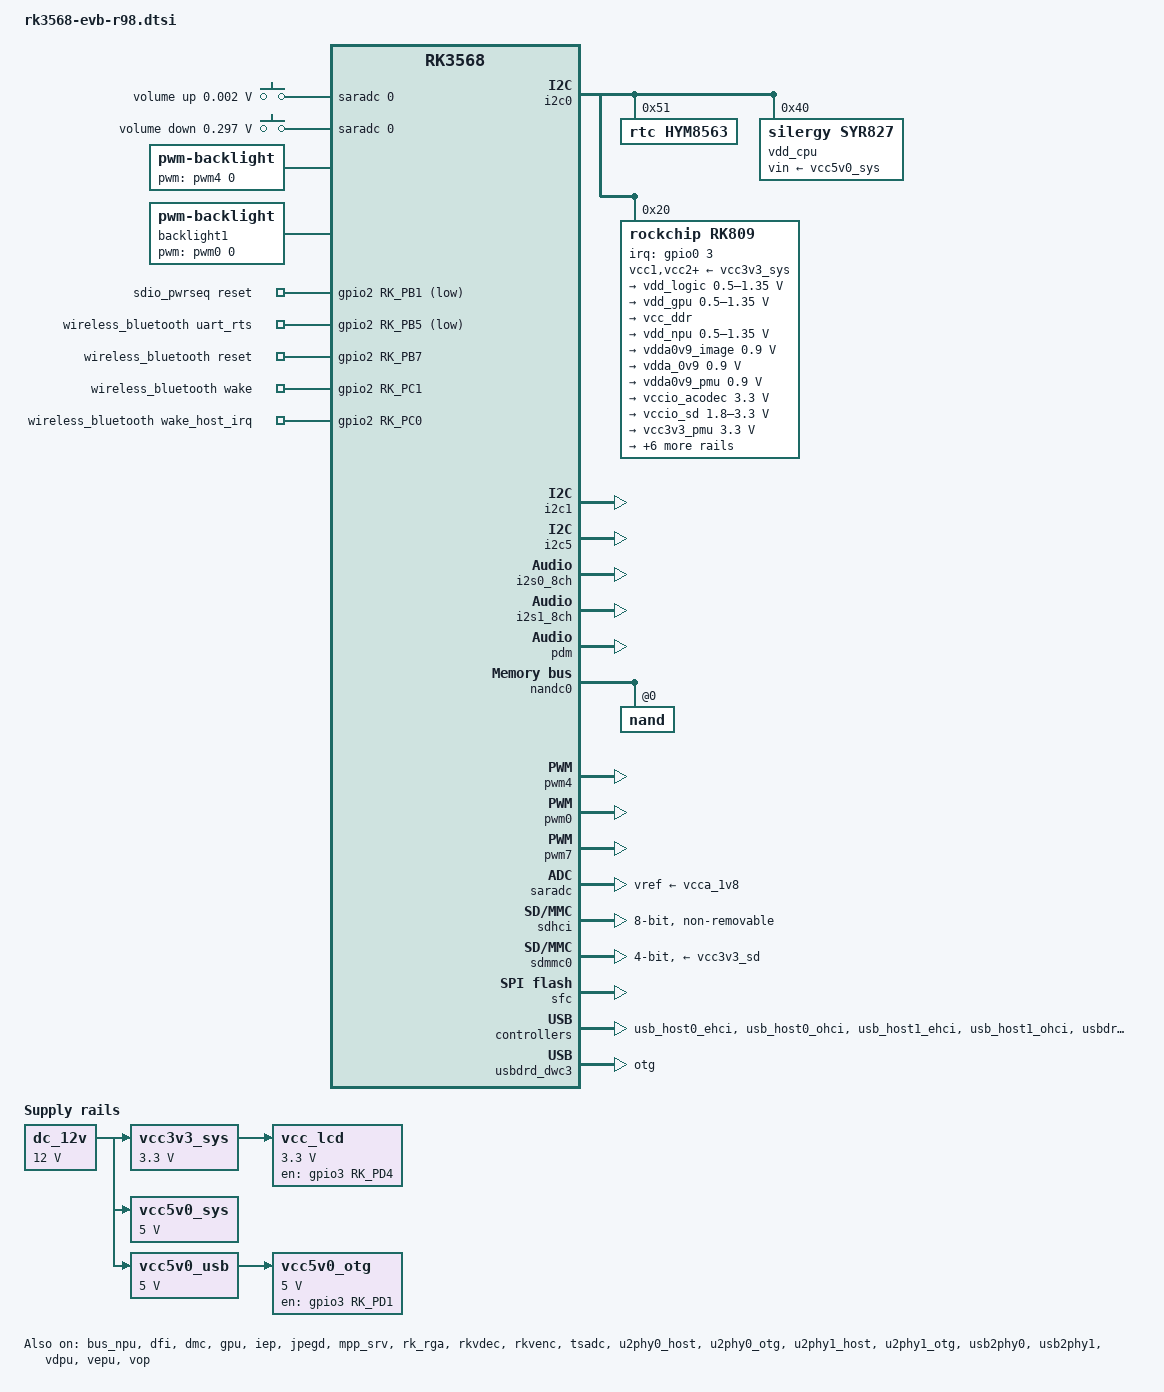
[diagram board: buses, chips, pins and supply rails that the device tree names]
// SPDX-License-Identifier: (GPL-2.0+ OR MIT)
/*
 * Copyright (c) 2020 Rockchip Electronics Co., Ltd.
 *
 */

#include <dt-bindings/gpio/gpio.h>
#include <dt-bindings/pwm/pwm.h>
#include <dt-bindings/pinctrl/rockchip.h>
#include <dt-bindings/input/rk-input.h>
#include <dt-bindings/display/drm_mipi_dsi.h>
#include <dt-bindings/sensor-dev.h>

/ {

	adc_keys: adc-keys {
		compatible = "adc-keys";
		io-channels = <&saradc 0>;
		io-channel-names = "buttons";
		keyup-threshold-microvolt = <1800000>;
		poll-interval = <100>;

		vol-up-key {
			label = "volume up";
			linux,code = <KEY_VOLUMEUP>;
			press-threshold-microvolt = <1750>;
		};

		vol-down-key {
			label = "volume down";
			linux,code = <KEY_VOLUMEDOWN>;
			press-threshold-microvolt = <297500>;
		};

		/*menu-key {
			label = "menu";
			linux,code = <KEY_MENU>;
			press-threshold-microvolt = <980000>;
		};

		back-key {
			label = "back";
			linux,code = <KEY_BACK>;
			press-threshold-microvolt = <1305500>;
		};*/
	};

	audiopwmout_diff: audiopwmout-diff {
		status = "disabled";
		compatible = "simple-audio-card";
		simple-audio-card,format = "i2s";
		simple-audio-card,name = "rockchip,audiopwmout-diff";
		simple-audio-card,mclk-fs = <256>;
		simple-audio-card,bitclock-master = <&master>;
		simple-audio-card,frame-master = <&master>;
		simple-audio-card,cpu {
			sound-dai = <&i2s3_2ch>;
		};
		master: simple-audio-card,codec {
			sound-dai = <&dig_acodec>;
		};
	};

	backlight: backlight {
		compatible = "pwm-backlight";
		pwms = <&pwm4 0 100000 1>;
		brightness-levels = <
			  0   1   2   3   4   5   6   7
			  8   9  10  11  12  13  14  15
			 16  17  18  19  20  21  22  23
			 24  25  26  27  28  29  30  31
			 32  33  34  35  36  37  38  39
			 40  41  42  43  44  45  46  47
			 48  49  50  51  52  53  54  55
			 56  57  58  59  60  61  62  63
			 64  65  66  67  68  69  70  71
			 72  73  74  75  76  77  78  79
			 80  81  82  83  84  85  86  87
			 88  89  90  91  92  93  94  95
			 96  97  98  99 100 101 102 103
			104 105 106 107 108 109 110 111
			112 113 114 115 116 117 118 119
			120 121 122 123 124 125 126 127
			128 129 130 131 132 133 134 135
			136 137 138 139 140 141 142 143
			144 145 146 147 148 149 150 151
			152 153 154 155 156 157 158 159
			160 161 162 163 164 165 166 167
			168 169 170 171 172 173 174 175
			176 177 178 179 180 181 182 183
			184 185 186 187 188 189 190 191
			192 193 194 195 196 197 198 199
			200 201 202 203 204 205 206 207
			208 209 210 211 212 213 214 215
			216 217 218 219 220 221 222 223
			224 225 226 227 228 229 230 231
			232 233 234 235 236 237 238 239
			240 241 242 243 244 245 246 247
			248 249 250 251 252 253 254 255>;
		default-brightness-level = <200>;
	};

	backlight1: backlight1 {
		compatible = "pwm-backlight";
		pwms = <&pwm0 0 25000 0>;
		brightness-levels = <
			  0   1   2   3   4   5   6   7
			  8   9  10  11  12  13  14  15
			 16  17  18  19  20  21  22  23
			 24  25  26  27  28  29  30  31
			 32  33  34  35  36  37  38  39
			 40  41  42  43  44  45  46  47
			 48  49  50  51  52  53  54  55
			 56  57  58  59  60  61  62  63
			 64  65  66  67  68  69  70  71
			 72  73  74  75  76  77  78  79
			 80  81  82  83  84  85  86  87
			 88  89  90  91  92  93  94  95
			 96  97  98  99 100 101 102 103
			104 105 106 107 108 109 110 111
			112 113 114 115 116 117 118 119
			120 121 122 123 124 125 126 127
			128 129 130 131 132 133 134 135
			136 137 138 139 140 141 142 143
			144 145 146 147 148 149 150 151
			152 153 154 155 156 157 158 159
			160 161 162 163 164 165 166 167
			168 169 170 171 172 173 174 175
			176 177 178 179 180 181 182 183
			184 185 186 187 188 189 190 191
			192 193 194 195 196 197 198 199
			200 201 202 203 204 205 206 207
			208 209 210 211 212 213 214 215
			216 217 218 219 220 221 222 223
			224 225 226 227 228 229 230 231
			232 233 234 235 236 237 238 239
			240 241 242 243 244 245 246 247
			248 249 250 251 252 253 254 255>;
		default-brightness-level = <200>;
	};

	dc_12v: dc-12v {
		compatible = "regulator-fixed";
		regulator-name = "dc_12v";
		regulator-always-on;
		regulator-boot-on;
		regulator-min-microvolt = <12000000>;
		regulator-max-microvolt = <12000000>;
	};

	hdmi_sound: hdmi-sound {
		compatible = "simple-audio-card";
		simple-audio-card,format = "i2s";
		simple-audio-card,mclk-fs = <128>;
		simple-audio-card,name = "rockchip,hdmi";
		status = "disabled";

		simple-audio-card,cpu {
				sound-dai = <&i2s0_8ch>;
		};
		simple-audio-card,codec {
				sound-dai = <&hdmi>;
		};
	};

	/*leds: leds {
		compatible = "gpio-leds";
		work_led: work {
			gpios = <&gpio0 RK_PC0 GPIO_ACTIVE_HIGH>;
			linux,default-trigger = "heartbeat";
		};
	};*/
	rk809_sound: rk809-sound {
		status = "okay";
		compatible = "simple-audio-card";
		simple-audio-card,format = "i2s";
		simple-audio-card,name = "rockchip,rk809-codec";
		simple-audio-card,mclk-fs = <256>;

		simple-audio-card,cpu {
			sound-dai = <&i2s1_8ch>;
		};
		simple-audio-card,codec {
			sound-dai = <&rk809_codec>;
		};
	};

	pdmics: dummy-codec {
		status = "okay";
		compatible = "rockchip,dummy-codec";
		#sound-dai-cells = <0>;
	};

	pdm_mic_array: pdm-mic-array {
		status = "okay";
		compatible = "simple-audio-card";
		simple-audio-card,name = "rockchip,pdm-mic-array";
		simple-audio-card,cpu {
			sound-dai = <&pdm>;
		};
		simple-audio-card,codec {
			sound-dai = <&pdmics>;
		};
	};

	spdif-sound {
		status = "disabled";
		compatible = "simple-audio-card";
		simple-audio-card,name = "ROCKCHIP,SPDIF";
		simple-audio-card,cpu {
				sound-dai = <&spdif_8ch>;
		};
		simple-audio-card,codec {
				sound-dai = <&spdif_out>;
		};
	};

	spdif_out: spdif-out {
			status = "disabled";
			compatible = "linux,spdif-dit";
			#sound-dai-cells = <0>;
	};

	vad_sound: vad-sound {
		status = "disabled";
		compatible = "rockchip,multicodecs-card";
		rockchip,card-name = "rockchip,rk3568-vad";
		rockchip,cpu = <&i2s1_8ch>;
		rockchip,codec = <&rk809_codec>, <&vad>;
	};

	vcc3v3_sys: vcc3v3-sys {
		compatible = "regulator-fixed";
		regulator-name = "vcc3v3_sys";
		regulator-always-on;
		regulator-boot-on;
		regulator-min-microvolt = <3300000>;
		regulator-max-microvolt = <3300000>;
		vin-supply = <&dc_12v>;
	};

	vcc5v0_sys: vcc5v0-sys {
		compatible = "regulator-fixed";
		regulator-name = "vcc5v0_sys";
		regulator-always-on;
		regulator-boot-on;
		regulator-min-microvolt = <5000000>;
		regulator-max-microvolt = <5000000>;
		vin-supply = <&dc_12v>;
	};

	vcc5v0_usb: vcc5v0-usb {
		compatible = "regulator-fixed";
		regulator-name = "vcc5v0_usb";
		regulator-always-on;
		regulator-boot-on;
		regulator-min-microvolt = <5000000>;
		regulator-max-microvolt = <5000000>;
		vin-supply = <&dc_12v>;
	};

	/*vcc5v0_host: vcc5v0-host-regulator {
		compatible = "regulator-fixed";
		regulator-name = "vcc5v0_host";
		regulator-boot-on;
		regulator-always-on;
		regulator-min-microvolt = <5000000>;
		regulator-max-microvolt = <5000000>;
		enable-active-high;
		gpio = <&gpio0 RK_PA6 GPIO_ACTIVE_HIGH>;
		vin-supply = <&vcc5v0_usb>;
		pinctrl-names = "default";
		pinctrl-0 = <&vcc5v0_host_en>;
	};*/

	vcc5v0_otg: vcc5v0-otg-regulator {
		compatible = "regulator-fixed";
		regulator-name = "vcc5v0_otg";
		regulator-min-microvolt = <5000000>;
		regulator-max-microvolt = <5000000>;
		enable-active-high;
		gpio = <&gpio3 RK_PD1 GPIO_ACTIVE_HIGH>;
		vin-supply = <&vcc5v0_usb>;
		pinctrl-names = "default";
		pinctrl-0 = <&vcc5v0_otg_en>;
	};

	vcc_lcd: vcc-lcd {
		compatible = "regulator-fixed";
		regulator-name = "vcc_lcd";
		regulator-boot-on;
		regulator-min-microvolt = <3300000>;
		regulator-max-microvolt = <3300000>;
		enable-active-high;
		//regulator-always-on;
		gpio = <&gpio3 RK_PD4 GPIO_ACTIVE_HIGH>;
		pinctrl-names = "default";
		pinctrl-0 = <&lcd_edp_gpio>;
		vin-supply = <&vcc3v3_sys>;

		regulator-state-mem {
			regulator-off-in-suspend;
		};
	};
	
	/*vcc1v8_lcd0_n: vcc1v8-lcd0-n {
		status = "disabled";
		compatible = "regulator-fixed";
		regulator-name = "vcc1v8_lcd0_n";
		regulator-boot-on;
		regulator-min-microvolt = <3300000>;
		regulator-max-microvolt = <3300000>;
		enable-active-high;
		gpio = <&gpio3 RK_PC6 GPIO_ACTIVE_HIGH>;
		vin-supply = <&vcc3v3_sys>;

		regulator-state-mem {
			regulator-off-in-suspend;
		};
	};

	vcc3v3_lcd1_n: vcc3v3-lcd1-n {
		status = "disabled";
		compatible = "regulator-fixed";
		regulator-name = "vcc3v3_lcd1_n";
		regulator-boot-on;
		regulator-min-microvolt = <3300000>;
		regulator-max-microvolt = <3300000>;
		enable-active-high;
		gpio = <&gpio0 RK_PC5 GPIO_ACTIVE_HIGH>;
		vin-supply = <&vcc3v3_sys>;

		regulator-state-mem {
			regulator-off-in-suspend;
		};
	};*/

	sdio_pwrseq: sdio-pwrseq {
		compatible = "mmc-pwrseq-simple";
		//clocks = <&pmucru CLK_RTC_32K>;
		//pinctrl-0 = <&wifi_enable_h &wifi_32k>;
		clocks = <&rk809 1>;
		clock-names = "ext_clock";
		pinctrl-names = "default";
		pinctrl-0 = <&wifi_enable_h>;

		/*
		 * On the module itself this is one of these (depending
		 * on the actual card populated):
		 * - SDIO_RESET_L_WL_REG_ON
		 * - PDN (power down when low)
		 */
		post-power-on-delay-ms = <200>;
		reset-gpios = <&gpio2 RK_PB1 GPIO_ACTIVE_LOW>;
	};

	wireless_wlan: wireless-wlan {
		compatible = "wlan-platdata";
		rockchip,grf = <&grf>;
		wifi_chip_type = "ap6398s";
		status = "okay";
	};

	wireless_bluetooth {
		compatible = "bluetooth-platdata";
		//clocks = <&pmucru CLK_RTC_32K>;
		clocks = <&rk809 1>;//rocky
		clock-names = "ext_clock";
		//wifi-bt-power-toggle;
		uart_rts_gpios = <&gpio2 RK_PB5 GPIO_ACTIVE_LOW>;
		pinctrl-names = "default", "rts_gpio";
		pinctrl-0 = <&uart1m0_rtsn>;
		pinctrl-1 = <&uart1_gpios>;
		BT,reset_gpio    = <&gpio2 RK_PB7 GPIO_ACTIVE_HIGH>;
		BT,wake_gpio     = <&gpio2 RK_PC1 GPIO_ACTIVE_HIGH>;
		BT,wake_host_irq = <&gpio2 RK_PC0 GPIO_ACTIVE_HIGH>;
		status = "okay";
	};
	
	test-power {
		status = "okay";
	};
};

&bus_npu {
	bus-supply = <&vdd_logic>;
	pvtm-supply = <&vdd_cpu>;
	status = "okay";
};

&can0 {
	assigned-clocks = <&cru CLK_CAN0>;
	assigned-clock-rates = <150000000>;
	pinctrl-names = "default";
	pinctrl-0 = <&can0m1_pins>;
	status = "disabled";
};

&can1 {
	assigned-clocks = <&cru CLK_CAN1>;
	assigned-clock-rates = <150000000>;
	pinctrl-names = "default";
	pinctrl-0 = <&can1m1_pins>;
	status = "disabled";
};

&can2 {
	assigned-clocks = <&cru CLK_CAN2>;
	assigned-clock-rates = <150000000>;
	pinctrl-names = "default";
	pinctrl-0 = <&can2m1_pins>;
	status = "disabled";
};

&cpu0 {
	cpu-supply = <&vdd_cpu>;
};

&dfi {
	status = "okay";
};

&dmc {
	center-supply = <&vdd_logic>;
	status = "okay";
};

&dsi0 {
	status = "disabled";
	//rockchip,lane-rate = <1000>;
	//rockchip,lane-rate = <400>;
	dsi0_panel: panel@0 {
		status = "okay";
		compatible = "simple-panel-dsi";
		reg = <0>;
		//backlight = <&backlight1>;//rocky
		
		prepare-delay-ms = <120>;
		reset-delay-ms = <120>;
		init-delay-ms = <120>;
		stbyb-delay-ms = <120>;
		enable-delay-ms = <120>;
		disable-delay-ms = <120>;
		unprepare-delay-ms = <120>;
		
		dsi,flags = <(MIPI_DSI_MODE_VIDEO | MIPI_DSI_MODE_VIDEO_BURST |
			MIPI_DSI_MODE_LPM | MIPI_DSI_MODE_EOT_PACKET)>;
		dsi,format = <MIPI_DSI_FMT_RGB888>;
		dsi,lanes  = <4>;
		panel-init-sequence = [
			/*15 00 02 80 8B
			15 00 02 81 C8
			15 00 02 82 DC
			15 00 02 83 FF
			15 00 02 84 CA
			15 00 02 85 7C
			15 00 02 86 B9*/
			
			15 00 02 80 AC
			15 00 02 81 B8
			15 00 02 82 09
			15 00 02 83 78
			15 00 02 84 7F
			15 00 02 85 BB
			15 00 02 86 70

			05 78 01 11		
			05 14 01 29
		];  

		panel-exit-sequence = [
			05 00 01 28
			05 00 01 10
		];

		disp_timings0: display-timings {
			native-mode = <&dsi0_timing0>;
			dsi0_timing0: timing0 {
				clock-frequency = <52000000>;
				hactive = <1024>;
				vactive = <600>;
				hback-porch = <160>;
				hfront-porch = <160>;
				vback-porch = <23>;
				vfront-porch = <12>;
				hsync-len = <10>;
				vsync-len = <1>;
				hsync-active = <0>;
				vsync-active = <0>;
				de-active = <0>;
				pixelclk-active = <0>;
			};
		};

		ports {
			#address-cells = <1>;
			#size-cells = <0>;

			port@0 {
				reg = <0>;
				panel_in_dsi: endpoint {
					remote-endpoint = <&dsi_out_panel>;
				};
			};
		};
	};

	ports {
		#address-cells = <1>;
		#size-cells = <0>;

		port@1 {
			reg = <1>;
			dsi_out_panel: endpoint {
				remote-endpoint = <&panel_in_dsi>;
			};
		};
	};

};

&dsi1 {
	status = "disabled";
	//rockchip,lane-rate = <1000>;
	dsi1_panel: panel@0 {
		status = "okay";
		compatible = "simple-panel-dsi";
		reg = <0>;
		//backlight = <&backlight1>;
		
		prepare-delay-ms = <120>;
		reset-delay-ms = <120>;
		init-delay-ms = <120>;
		stbyb-delay-ms = <120>;
		enable-delay-ms = <120>;
		disable-delay-ms = <120>;
		unprepare-delay-ms = <120>;
		
		dsi,flags = <(MIPI_DSI_MODE_VIDEO | MIPI_DSI_MODE_VIDEO_BURST |
			MIPI_DSI_MODE_LPM | MIPI_DSI_MODE_EOT_PACKET)>;
		dsi,format = <MIPI_DSI_FMT_RGB888>;
		dsi,lanes  = <4>;
		panel-init-sequence = [
		
		#if 1 //10.1-JJ101I008-A6  JJ101I008-A5
			15 01 02 E0 00
			15 01 02 E1 93
			15 01 02 E2 65
			15 01 02 E3 F8
			15 01 02 80 03
			15 01 02 E0 01
			15 01 02 00 00
			15 01 02 01 5C
			15 01 02 17 00
			15 01 02 18 D7
			15 01 02 19 01
			15 01 02 1A 00
			15 01 02 1B D7
			15 01 02 1C 01
			15 01 02 1F 70
			15 01 02 20 2D
			15 01 02 21 2D
			15 01 02 22 7E
			15 01 02 24 FD
			15 01 02 37 19
			15 01 02 35 28
			15 01 02 38 05
			15 01 02 39 08
			15 01 02 3A 12
			15 01 02 3C 7E
			15 01 02 3D FF
			15 01 02 3E FF
			15 01 02 3F 7F
			15 01 02 0C 74
			15 01 02 40 06
			15 01 02 41 A0
			15 01 02 43 1E
			15 01 02 44 0B
			15 01 02 55 01
			15 01 02 56 01
			15 01 02 57 6A
			15 01 02 58 09
			15 01 02 59 0A
			15 01 02 5A 2E
			15 01 02 5B 1A
			15 01 02 5C 15
			15 01 02 5D 7F
			15 01 02 5E 5D
			15 01 02 5F 4B
			15 01 02 60 3E
			15 01 02 61 3A
			15 01 02 62 2B
			15 01 02 63 2F
			15 01 02 64 19
			15 01 02 65 32
			15 01 02 66 31
			15 01 02 67 31
			15 01 02 68 4F
			15 01 02 69 3E
			15 01 02 6A 47
			15 01 02 6B 36
			15 01 02 6C 31
			15 01 02 6D 24
			15 01 02 6E 12
			15 01 02 6F 02
			15 01 02 70 7F
			15 01 02 71 5D
			15 01 02 72 4B
			15 01 02 73 3E
			15 01 02 74 3A
			15 01 02 75 2B
			15 01 02 76 2F
			15 01 02 77 19
			15 01 02 78 32
			15 01 02 79 31
			15 01 02 7A 31
			15 01 02 7B 4F
			15 01 02 7C 3E
			15 01 02 7D 47
			15 01 02 7E 36
			15 01 02 7F 31
			15 01 02 80 24
			15 01 02 81 12
			15 01 02 82 02
			15 01 02 E0 02
			15 01 02 00 52
			15 01 02 01 55
			15 01 02 02 55
			15 01 02 03 50
			15 01 02 04 77
			15 01 02 05 57
			15 01 02 06 55
			15 01 02 07 4E
			15 01 02 08 4C
			15 01 02 09 5F
			15 01 02 0A 4A
			15 01 02 0B 48
			15 01 02 0C 55
			15 01 02 0D 46
			15 01 02 0E 44
			15 01 02 0F 40
			15 01 02 10 55
			15 01 02 11 55
			15 01 02 12 55
			15 01 02 13 55
			15 01 02 14 55
			15 01 02 15 55
			15 01 02 16 53
			15 01 02 17 55
			15 01 02 18 55
			15 01 02 19 51
			15 01 02 1A 77
			15 01 02 1B 57
			15 01 02 1C 55
			15 01 02 1D 4F
			15 01 02 1E 4D
			15 01 02 1F 5F
			15 01 02 20 4B
			15 01 02 21 49
			15 01 02 22 55
			15 01 02 23 47
			15 01 02 24 45
			15 01 02 25 41
			15 01 02 26 55
			15 01 02 27 55
			15 01 02 28 55
			15 01 02 29 55
			15 01 02 2A 55
			15 01 02 2B 55
			15 01 02 2C 13
			15 01 02 2D 15
			15 01 02 2E 15
			15 01 02 2F 01
			15 01 02 30 37
			15 01 02 31 17
			15 01 02 32 15
			15 01 02 33 0D
			15 01 02 34 0F
			15 01 02 35 15
			15 01 02 36 05
			15 01 02 37 07
			15 01 02 38 15
			15 01 02 39 09
			15 01 02 3A 0B
			15 01 02 3B 11
			15 01 02 3C 15
			15 01 02 3D 15
			15 01 02 3E 15
			15 01 02 3F 15
			15 01 02 40 15
			15 01 02 41 15
			15 01 02 42 12
			15 01 02 43 15
			15 01 02 44 15
			15 01 02 45 00
			15 01 02 46 37
			15 01 02 47 17
			15 01 02 48 15
			15 01 02 49 0C
			15 01 02 4A 0E
			15 01 02 4B 15
			15 01 02 4C 04
			15 01 02 4D 06
			15 01 02 4E 15
			15 01 02 4F 08
			15 01 02 50 0A
			15 01 02 51 10
			15 01 02 52 15
			15 01 02 53 15
			15 01 02 54 15
			15 01 02 55 15
			15 01 02 56 15
			15 01 02 57 15
			15 01 02 58 40
			15 01 02 5B 10
			15 01 02 5C 06
			15 01 02 5D 40
			15 01 02 5E 00
			15 01 02 5F 00
			15 01 02 60 40
			15 01 02 61 03
			15 01 02 62 04
			15 01 02 63 6C
			15 01 02 64 6C
			15 01 02 65 75
			15 01 02 66 08
			15 01 02 67 B4
			15 01 02 68 08
			15 01 02 69 6C
			15 01 02 6A 6C
			15 01 02 6B 0C
			15 01 02 6D 00
			15 01 02 6E 00
			15 01 02 6F 88
			15 01 02 75 BB
			15 01 02 76 00
			15 01 02 77 05
			15 01 02 78 2A
			15 01 02 E0 04
			15 01 02 36 49
			15 01 02 09 11
			15 01 02 0E 48
			15 01 02 E0 00
			05 78 01 11
			05 1E 01 29
			15 01 02 35 00
			15 01 02 E0 00
			
		#else //8inch-JL080-CC8001-21J   JL080-CC8001-21H
			15 01 02 E0 00
			15 01 02 E1 93
			15 01 02 E2 65
			15 01 02 E3 F8
			15 01 02 80 03
			15 01 02 E0 01
			15 01 02 00 00
			15 01 02 01 30
			15 01 02 03 00
			15 01 02 04 3C
			15 01 02 0C 74
			15 01 02 17 00
			15 01 02 18 F7
			15 01 02 19 00
			15 01 02 1A 00
			15 01 02 1B F7
			15 01 02 1C 00
			15 01 02 24 FE
			15 01 02 35 23
			15 01 02 37 09
			15 01 02 38 04
			15 01 02 39 00
			15 01 02 3A 01
			15 01 02 3C 70
			15 01 02 3D FF
			15 01 02 3E FF
			15 01 02 3F 7F
			15 01 02 40 06
			15 01 02 41 A0
			15 01 02 43 1E
			15 01 02 44 0B
			15 01 02 45 28
			15 01 02 55 02
			15 01 02 57 69
			15 01 02 59 0A
			15 01 02 5A 2D
			15 01 02 5B 1A
			15 01 02 5C 15
			15 01 02 5D 7F
			15 01 02 5E 6B
			15 01 02 5F 5C
			15 01 02 60 4F
			15 01 02 61 4B
			15 01 02 62 3D
			15 01 02 63 41
			15 01 02 64 2C
			15 01 02 65 46
			15 01 02 66 46
			15 01 02 67 46
			15 01 02 68 64
			15 01 02 69 50
			15 01 02 6A 55
			15 01 02 6B 47
			15 01 02 6C 43
			15 01 02 6D 36
			15 01 02 6E 27
			15 01 02 6F 26
			15 01 02 70 7F
			15 01 02 71 6B
			15 01 02 72 5C
			15 01 02 73 4F
			15 01 02 74 4B
			15 01 02 75 3D
			15 01 02 76 41
			15 01 02 77 2C
			15 01 02 78 46
			15 01 02 79 46
			15 01 02 7A 46
			15 01 02 7B 64
			15 01 02 7C 50
			15 01 02 7D 55
			15 01 02 7E 47
			15 01 02 7F 43
			15 01 02 80 36
			15 01 02 81 27
			15 01 02 82 11
			15 01 02 E0 02
			15 01 02 00 50
			15 01 02 01 5F
			15 01 02 02 5F
			15 01 02 03 52
			15 01 02 04 77
			15 01 02 05 57
			15 01 02 06 5F
			15 01 02 07 4E
			15 01 02 08 4C
			15 01 02 09 5F
			15 01 02 0A 4A
			15 01 02 0B 48
			15 01 02 0C 5F
			15 01 02 0D 46
			15 01 02 0E 44
			15 01 02 0F 40
			15 01 02 10 5F
			15 01 02 11 5F
			15 01 02 12 5F
			15 01 02 13 5F
			15 01 02 14 5F
			15 01 02 15 5F
			15 01 02 16 51
			15 01 02 17 5F
			15 01 02 18 5F
			15 01 02 19 53
			15 01 02 1A 77
			15 01 02 1B 57
			15 01 02 1C 5F
			15 01 02 1D 4F
			15 01 02 1E 4D
			15 01 02 1F 5F
			15 01 02 20 4B
			15 01 02 21 49
			15 01 02 22 5F
			15 01 02 23 47
			15 01 02 24 45
			15 01 02 25 41
			15 01 02 26 5F
			15 01 02 27 5F
			15 01 02 28 5F
			15 01 02 29 5F
			15 01 02 2A 5F
			15 01 02 2B 5F
			15 01 02 2C 01
			15 01 02 2D 1F
			15 01 02 2E 1F
			15 01 02 2F 13
			15 01 02 30 17
			15 01 02 31 17
			15 01 02 32 1F
			15 01 02 33 0D
			15 01 02 34 0F
			15 01 02 35 1F
			15 01 02 36 05
			15 01 02 37 07
			15 01 02 38 1F
			15 01 02 39 09
			15 01 02 3A 0B
			15 01 02 3B 11
			15 01 02 3C 1F
			15 01 02 3D 1F
			15 01 02 3E 1F
			15 01 02 3F 1F
			15 01 02 40 1F
			15 01 02 41 1F
			15 01 02 42 00
			15 01 02 43 1F
			15 01 02 44 1F
			15 01 02 45 12
			15 01 02 46 17
			15 01 02 47 17
			15 01 02 48 1F
			15 01 02 49 0C
			15 01 02 4A 0E
			15 01 02 4B 1F
			15 01 02 4C 04
			15 01 02 4D 06
			15 01 02 4E 1F
			15 01 02 4F 08
			15 01 02 50 0A
			15 01 02 51 10
			15 01 02 52 1F
			15 01 02 53 1F
			15 01 02 54 1F
			15 01 02 55 1F
			15 01 02 56 1F
			15 01 02 57 1F
			15 01 02 58 40
			15 01 02 5B 10
			15 01 02 5C 06
			15 01 02 5D 40
			15 01 02 5E 00
			15 01 02 5F 00
			15 01 02 60 40
			15 01 02 61 03
			15 01 02 62 04
			15 01 02 63 6C
			15 01 02 64 6C
			15 01 02 65 75
			15 01 02 66 08
			15 01 02 67 B4
			15 01 02 68 08
			15 01 02 69 6C
			15 01 02 6A 6C
			15 01 02 6B 0C
			15 01 02 6D 00
			15 01 02 6E 00
			15 01 02 6F 88
			15 01 02 75 BB
			15 01 02 76 00
			15 01 02 77 05
			15 01 02 78 2A
			15 01 02 E0 04
			15 01 02 00 0E
			15 01 02 02 B3
			15 01 02 09 60
			15 01 02 0E 48
			15 01 02 E0 00
			05 78 01 11
			05 14 01 29
		#endif

		];

		panel-exit-sequence = [
			05 00 01 28
			05 00 01 10
		];

		disp_timings1: display-timings {
			native-mode = <&dsi1_timing0>;
			dsi1_timing0: timing0 {
				clock-frequency = <68000000>;
				hactive = <800>;
				vactive = <1280>;

				hsync-len = <20>;
				hback-porch = <20>;
				hfront-porch = <20>;

				vsync-len = <4>;
				vback-porch = <8>;
				vfront-porch = <30>;

				hsync-active = <0>;
				vsync-active = <0>;
				de-active = <0>;
				pixelclk-active = <0>;
			};
		};

		ports {
			#address-cells = <1>;
			#size-cells = <0>;

			port@0 {
				reg = <0>;
				panel_in_dsi1: endpoint {
					remote-endpoint = <&dsi1_out_panel>;
				};
			};
		};
	};

	ports {
		#address-cells = <1>;
		#size-cells = <0>;

		port@1 {
			reg = <1>;
			dsi1_out_panel: endpoint {
				remote-endpoint = <&panel_in_dsi1>;
			};
		};
	};

};

&gpu {
	mali-supply = <&vdd_gpu>;
	status = "okay";
};

&hdmi {
	status = "disabled";
	rockchip,phy-table =
		<92812500  0x8009 0x0000 0x0270>,
		<165000000 0x800b 0x0000 0x026d>,
		<185625000 0x800b 0x0000 0x01ed>,
		<297000000 0x800b 0x0000 0x01ad>,
		<594000000 0x8029 0x0000 0x0088>,
		<000000000 0x0000 0x0000 0x0000>;
};

&hdmi_in_vp0 {
	status = "disabled";
};

&hdmi_in_vp1 {
	status = "disabled";
};

&hdmi_sound {
	status = "disabled";
};

&i2c0 {
	status = "okay";

	hym8563: hym8563@51 {
		compatible = "rtc,hym8563";
		reg = <0x51>;		
		#clock-cells = <0>;
		status = "okay";
	};
	
	/*vdd_cpu: tcs4525@1c {
		compatible = "tcs,tcs452x";
		reg = <0x1c>;
		vin-supply = <&vcc5v0_sys>;
		regulator-compatible = "fan53555-reg";
		regulator-name = "vdd_cpu";
		regulator-min-microvolt = <712500>;
		regulator-max-microvolt = <1390000>;
		regulator-init-microvolt = <900000>;
		regulator-ramp-delay = <2300>;
		fcs,suspend-voltage-selector = <1>;
		regulator-boot-on;
		regulator-always-on;
		regulator-state-mem {
			regulator-off-in-suspend;
		};
	};*/
	
	vdd_cpu: syr827@40 {
		compatible = "silergy,syr827";
		reg = <0x40>;
		vin-supply = <&vcc5v0_sys>;
		regulator-compatible = "fan53555-reg";
		//pinctrl-0 = <&soc_slppin_gpio>;
		//vsel-gpios = <&gpio0 2 GPIO_ACTIVE_HIGH>;
		regulator-name = "vdd_cpu";
		regulator-min-microvolt = <712500>;
		regulator-max-microvolt = <1500000>;
		regulator-init-microvolt = <900000>;//rocky
		regulator-ramp-delay = <1000>;
		fcs,suspend-voltage-selector = <1>;
		regulator-always-on;
		regulator-boot-on;
		regulator-initial-state = <3>;
		regulator-state-mem {
			regulator-off-in-suspend;
		};
	};

	rk809: pmic@20 {
		compatible = "rockchip,rk809";
		reg = <0x20>;
		interrupt-parent = <&gpio0>;
		interrupts = <3 IRQ_TYPE_LEVEL_LOW>;

		pinctrl-names = "default", "pmic-sleep",
				"pmic-power-off", "pmic-reset";
		pinctrl-0 = <&pmic_int>;
		pinctrl-1 = <&soc_slppin_slp>, <&rk817_slppin_slp>;
		pinctrl-2 = <&soc_slppin_gpio>, <&rk817_slppin_pwrdn>;
		pinctrl-3 = <&soc_slppin_gpio>, <&rk817_slppin_rst>;

		rockchip,system-power-controller;
		wakeup-source;
		#clock-cells = <1>;
		clock-output-names = "rk808-clkout1", "rk808-clkout2";
		//fb-inner-reg-idxs = <2>;
		/* 1: rst regs (default in codes), 0: rst the pmic */
		pmic-reset-func = <0>;
		/* not save the PMIC_POWER_EN register in uboot */
		not-save-power-en = <1>;

		vcc1-supply = <&vcc3v3_sys>;
		vcc2-supply = <&vcc3v3_sys>;
		vcc3-supply = <&vcc3v3_sys>;
		vcc4-supply = <&vcc3v3_sys>;
		vcc5-supply = <&vcc3v3_sys>;
		vcc6-supply = <&vcc3v3_sys>;
		vcc7-supply = <&vcc3v3_sys>;
		vcc8-supply = <&vcc3v3_sys>;
		vcc9-supply = <&vcc3v3_sys>;

		pwrkey {
			status = "okay";
		};

		rtc {
			status = "okay";
		};
		
		pinctrl_rk8xx: pinctrl_rk8xx {
			gpio-controller;
			#gpio-cells = <2>;

			rk817_slppin_null: rk817_slppin_null {
				pins = "gpio_slp";
				function = "pin_fun0";
			};

			rk817_slppin_slp: rk817_slppin_slp {
				pins = "gpio_slp";
				function = "pin_fun1";
			};

			rk817_slppin_pwrdn: rk817_slppin_pwrdn {
				pins = "gpio_slp";
				function = "pin_fun2";
			};

			rk817_slppin_rst: rk817_slppin_rst {
				pins = "gpio_slp";
				function = "pin_fun3";
			};
		};

		regulators {
			vdd_logic: DCDC_REG1 {
				regulator-always-on;
				regulator-boot-on;
				regulator-min-microvolt = <500000>;
				regulator-max-microvolt = <1350000>;
				regulator-init-microvolt = <900000>;
				regulator-ramp-delay = <6001>;
				regulator-initial-mode = <0x2>;
				regulator-name = "vdd_logic";
				regulator-state-mem {
					regulator-off-in-suspend;
				};
			};

			vdd_gpu: DCDC_REG2 {
				regulator-always-on;
				regulator-boot-on;
				regulator-min-microvolt = <500000>;
				regulator-max-microvolt = <1350000>;
				regulator-init-microvolt = <900000>;
				regulator-ramp-delay = <6001>;
				regulator-initial-mode = <0x2>;
				regulator-name = "vdd_gpu";
				regulator-state-mem {
					regulator-off-in-suspend;
				};
			};

			vcc_ddr: DCDC_REG3 {
				regulator-always-on;
				regulator-boot-on;
				regulator-initial-mode = <0x2>;
				regulator-name = "vcc_ddr";
				regulator-state-mem {
					regulator-on-in-suspend;
				};
			};

			vdd_npu: DCDC_REG4 {
				regulator-always-on;
				regulator-boot-on;
				regulator-min-microvolt = <500000>;
				regulator-max-microvolt = <1350000>;
				regulator-init-microvolt = <900000>;
				regulator-ramp-delay = <6001>;
				regulator-initial-mode = <0x2>;
				regulator-name = "vdd_npu";
				regulator-state-mem {
					regulator-off-in-suspend;
				};
			};

			vdda0v9_image: LDO_REG1 {
				regulator-boot-on;
				regulator-always-on;
				regulator-min-microvolt = <900000>;
				regulator-max-microvolt = <900000>;
				regulator-name = "vdda0v9_image";
				regulator-state-mem {
					regulator-off-in-suspend;
				};
			};

			vdda_0v9: LDO_REG2 {
				regulator-always-on;
				regulator-boot-on;
				regulator-min-microvolt = <900000>;
				regulator-max-microvolt = <900000>;
				regulator-name = "vdda_0v9";
				regulator-state-mem {
					regulator-off-in-suspend;
				};
			};

			vdda0v9_pmu: LDO_REG3 {
				regulator-always-on;
				regulator-boot-on;
				regulator-min-microvolt = <900000>;
				regulator-max-microvolt = <900000>;
				regulator-name = "vdda0v9_pmu";
				regulator-state-mem {
					regulator-on-in-suspend;
					regulator-suspend-microvolt = <900000>;
				};
			};

			vccio_acodec: LDO_REG4 {
				regulator-always-on;
				regulator-boot-on;
				regulator-min-microvolt = <3300000>;
				regulator-max-microvolt = <3300000>;
				regulator-name = "vccio_acodec";
				regulator-state-mem {
					regulator-off-in-suspend;
				};
			};

			vccio_sd: LDO_REG5 {
				regulator-always-on;
				regulator-boot-on;
				regulator-min-microvolt = <1800000>;
				regulator-max-microvolt = <3300000>;
				regulator-name = "vccio_sd";
				regulator-state-mem {
					regulator-off-in-suspend;
				};
			};

			vcc3v3_pmu: LDO_REG6 {
				regulator-always-on;
				regulator-boot-on;
				regulator-min-microvolt = <3300000>;
				regulator-max-microvolt = <3300000>;
				regulator-name = "vcc3v3_pmu";
				regulator-state-mem {
					regulator-on-in-suspend;
					regulator-suspend-microvolt = <3300000>;
				};
			};

			vcca_1v8: LDO_REG7 {
				regulator-always-on;
				regulator-boot-on;
				regulator-min-microvolt = <1800000>;
				regulator-max-microvolt = <1800000>;
				regulator-name = "vcca_1v8";
				regulator-state-mem {
					regulator-off-in-suspend;
				};
			};

			vcca1v8_pmu: LDO_REG8 {
				regulator-always-on;
				regulator-boot-on;
				regulator-min-microvolt = <1800000>;
				regulator-max-microvolt = <1800000>;
				regulator-name = "vcca1v8_pmu";
				regulator-state-mem {
					regulator-on-in-suspend;
					regulator-suspend-microvolt = <1800000>;
				};
			};

			vcca1v8_image: LDO_REG9 {
				regulator-always-on;
				regulator-boot-on;
				regulator-min-microvolt = <1800000>;
				regulator-max-microvolt = <1800000>;
				regulator-name = "vcca1v8_image";
				regulator-state-mem {
					regulator-off-in-suspend;
				};
			};

			vcc_1v8: DCDC_REG5 {
				regulator-always-on;
				regulator-boot-on;
				regulator-min-microvolt = <1800000>;
				regulator-max-microvolt = <1800000>;
				regulator-name = "vcc_1v8";
				regulator-state-mem {
					regulator-off-in-suspend;
				};
			};

			vcc_3v3: SWITCH_REG1 {
				regulator-always-on;
				regulator-boot-on;
				regulator-name = "vcc_3v3";
				regulator-state-mem {
					regulator-off-in-suspend;
				};
			};

			vcc3v3_sd: SWITCH_REG2 {
				regulator-always-on;
				regulator-boot-on;
				regulator-name = "vcc3v3_sd";
				regulator-state-mem {
					regulator-off-in-suspend;
				};
			};
		};

		rk809_codec: codec {
			#sound-dai-cells = <0>;
			compatible = "rockchip,rk809-codec", "rockchip,rk817-codec";
			clocks = <&cru I2S1_MCLKOUT>;
			clock-names = "mclk";
			assigned-clocks = <&cru I2S1_MCLKOUT>, <&cru I2S1_MCLK_TX_IOE>;
			assigned-clock-rates = <12288000>;
			assigned-clock-parents = <&cru I2S1_MCLKOUT_TX>, <&cru I2S1_MCLKOUT_TX>;
			pinctrl-names = "default";
			pinctrl-0 = <&i2s1m0_mclk>;
			hp-volume = <8>;//20-4.39mW//add 22Ohm  8-0.385-4.49mW//4.9mW
			spk-volume = <12>;//10-2.25W  11-2.23w 12-2.04W
			capture-volume = <20>;//20
			//out-l2spk-r2hp;
			mic-in-differential;
			//pdmdata-out-enable;
			use-ext-amplifier;
			//adc-for-loopback;
			spk-ctl-gpios = <&gpio3 RK_PD5 GPIO_ACTIVE_HIGH>;
			status = "okay";
		};
	};
};

&i2c1 {
	status = "okay";

	gt1x: gt1x@14 {
		compatible = "goodix,gt1x";
		reg = <0x14>;
		pinctrl-names = "default";
		pinctrl-0 = <&touch_gpio>;
		goodix,rst-gpio = <&gpio0 RK_PB6 GPIO_ACTIVE_HIGH>;
		goodix,irq-gpio = <&gpio0 RK_PB5 IRQ_TYPE_LEVEL_LOW>;
		status = "disabled";
	};
};

&i2c5 {
	status = "okay";

	mxc6655xa: mxc6655xa@15 {
		status = "disabled";
		compatible = "gs_mxc6655xa";
		pinctrl-names = "default";
		pinctrl-0 = <&mxc6655xa_irq_gpio>;
		reg = <0x15>;
		irq-gpio = <&gpio3 RK_PC1 IRQ_TYPE_LEVEL_LOW>;
		irq_enable = <0>;
		poll_delay_ms = <30>;
		type = <SENSOR_TYPE_ACCEL>;
		power-off-in-suspend = <1>;
		layout = <1>;
	};
};

&i2s0_8ch {
	status = "okay";
};

&i2s1_8ch {
	status = "okay";
	#sound-dai-cells = <0>;//rocky
	rockchip,clk-trcm = <1>;
	pinctrl-names = "default";
	pinctrl-0 = <&i2s1m0_sclktx
		     &i2s1m0_lrcktx
		     &i2s1m0_sdi0
		     &i2s1m0_sdo0>;
};

&pdm {
	status = "okay";
	rockchip,path-map = <1 2 3 0>;
	#sound-dai-cells = <0>;
	pinctrl-names = "default";
    pinctrl-0 = </*&pdmm0_clk*/
                 &pdmm0_clk1
                 /*&pdmm0_sdi0*/
                 &pdmm0_sdi1
                 &pdmm0_sdi2
                 /*&pdmm0_sdi3*/>;
};

&iep {
	status = "okay";
};

&iep_mmu {
	status = "okay";
};

&jpegd {
	status = "okay";
};

&jpegd_mmu {
	status = "okay";
};

&mpp_srv {
	status = "okay";
};

&nandc0 {
	#address-cells = <1>;
	#size-cells = <0>;
	status = "okay";

	nand@0 {
		reg = <0>;
		nand-bus-width = <8>;
		nand-ecc-mode = "hw";
		nand-ecc-strength = <16>;
		nand-ecc-step-size = <1024>;
	};
};

&pinctrl {

	mxc6655xa {
		mxc6655xa_irq_gpio: mxc6655xa_irq_gpio {
			rockchip,pins = <3 RK_PC1 RK_FUNC_GPIO &pcfg_pull_none>;
		};
	};

	pmic {
		pmic_int: pmic_int {
			rockchip,pins =
				<0 RK_PA3 RK_FUNC_GPIO &pcfg_pull_up>;
		};

		soc_slppin_gpio: soc_slppin_gpio {
			rockchip,pins =
				<0 RK_PA2 RK_FUNC_GPIO &pcfg_output_low_pull_down>;
		};

		soc_slppin_slp: soc_slppin_slp {
			rockchip,pins =
				<0 RK_PA2 1 &pcfg_pull_up>;
		};

		soc_slppin_rst: soc_slppin_rst {
			rockchip,pins =
				<0 RK_PA2 2 &pcfg_pull_none>;
		};
	};

	touch {
		touch_gpio: touch-gpio {
			rockchip,pins =
				<0 RK_PB5 RK_FUNC_GPIO &pcfg_pull_up>,
				<0 RK_PB6 RK_FUNC_GPIO &pcfg_pull_none>;
		};
		
		touch2_gpio: touch2-gpio {
			rockchip,pins =
				<3 RK_PD2 RK_FUNC_GPIO &pcfg_pull_up>,
				<3 RK_PD3 RK_FUNC_GPIO &pcfg_pull_none>;
		};
	};

	sdio-pwrseq {
		wifi_enable_h: wifi-enable-h {
			rockchip,pins = <2 RK_PB1 RK_FUNC_GPIO &pcfg_pull_none>;
		};
	};

	usb {
		/*vcc5v0_host_en: vcc5v0-host-en {
			rockchip,pins = <0 RK_PA6 RK_FUNC_GPIO &pcfg_pull_none>;
		};*/

		vcc5v0_otg_en: vcc5v0-otg-en {
			rockchip,pins = <3 RK_PD1 RK_FUNC_GPIO &pcfg_pull_none>;
		};
	};

	/*wireless-bluetooth {
		uart8_gpios: uart8-gpios {
			rockchip,pins = <2 RK_PB1 RK_FUNC_GPIO &pcfg_pull_none>;
		};
	};*/
};

 /*
  * There are 10 independent IO domains in RK3566/RK3568, including PMUIO[0:2] and VCCIO[1:7].
  * 1/ PMUIO0 and PMUIO1 are fixed-level power domains which cannot be configured;
  * 2/ PMUIO2 and VCCIO1,VCCIO[3:7] domains require that their hardware power supply voltages
  *    must be consistent with the software configuration correspondingly
  *	a/ When the hardware IO level is connected to 1.8V, the software voltage configuration
  *	   should also be configured to 1.8V accordingly;
  *	b/ When the hardware IO level is connected to 3.3V, the software voltage configuration
  *	   should also be configured to 3.3V accordingly;
  * 3/ VCCIO2 voltage control selection (0xFDC20140)
  *	BIT[0]: 0x0: from GPIO_0A7 (default)
  *	BIT[0]: 0x1: from GRF
  *    Default is determined by Pin FLASH_VOL_SEL/GPIO0_A7:
  *	L:VCCIO2 must supply 3.3V
  *	H:VCCIO2 must supply 1.8V
  */
&pmu_io_domains {
	status = "okay";
	pmuio2-supply = <&vcc3v3_pmu>;
	vccio1-supply = <&vccio_acodec>;
	vccio3-supply = <&vccio_sd>;
	vccio4-supply = <&vcc_3v3>;
	vccio5-supply = <&vcc_3v3>;
	vccio6-supply = <&vcc_3v3>;
	vccio7-supply = <&vcc_3v3>;
};

&pwm4 {
	status = "okay";
};

&pwm0 {
	status = "okay";
};

&pwm7 {
	status = "okay";

	compatible = "rockchip,remotectl-pwm";
	remote_pwm_id = <3>;
	handle_cpu_id = <1>;
	remote_support_psci = <0>;
	pinctrl-names = "default";
	pinctrl-0 = <&pwm7_pins>;

	ir_key1 {
		rockchip,usercode = <0x4040>;
		rockchip,key_table =
			<0xf2	KEY_REPLY>,
			<0xba	KEY_BACK>,
			<0xf4	KEY_UP>,
			<0xf1	KEY_DOWN>,
			<0xef	KEY_LEFT>,
			<0xee	KEY_RIGHT>,
			<0xbd	KEY_HOME>,
			<0xea	KEY_VOLUMEUP>,
			<0xe3	KEY_VOLUMEDOWN>,
			<0xe2	KEY_SEARCH>,
			<0xb2	KEY_POWER>,
			<0xbc	KEY_MUTE>,
			<0xec	KEY_MENU>,
			<0xbf	0x190>,
			<0xe0	0x191>,
			<0xe1	0x192>,
			<0xe9	183>,
			<0xe6	248>,
			<0xe8	185>,
			<0xe7	186>,
			<0xf0	388>,
			<0xbe	0x175>;
	};

	ir_key2 {
		rockchip,usercode = <0xff00>;
		rockchip,key_table =
			<0xf9	KEY_HOME>,
			<0xbf	KEY_BACK>,
			<0xfb	KEY_MENU>,
			<0xaa	KEY_REPLY>,
			<0xb9	KEY_UP>,
			<0xe9	KEY_DOWN>,
			<0xb8	KEY_LEFT>,
			<0xea	KEY_RIGHT>,
			<0xeb	KEY_VOLUMEDOWN>,
			<0xef	KEY_VOLUMEUP>,
			<0xf7	KEY_MUTE>,
			<0xe7	KEY_POWER>,
			<0xfc	KEY_POWER>,
			<0xa9	KEY_VOLUMEDOWN>,
			<0xa8	KEY_VOLUMEDOWN>,
			<0xe0	KEY_VOLUMEDOWN>,
			<0xa5	KEY_VOLUMEDOWN>,
			<0xab	183>,
			<0xb7	388>,
			<0xe8	388>,
			<0xf8	184>,
			<0xaf	185>,
			<0xed	KEY_VOLUMEDOWN>,
			<0xee	186>,
			<0xb3	KEY_VOLUMEDOWN>,
			<0xf1	KEY_VOLUMEDOWN>,
			<0xf2	KEY_VOLUMEDOWN>,
			<0xf3	KEY_SEARCH>,
			<0xb4	KEY_VOLUMEDOWN>,
			<0xbe	KEY_SEARCH>;
	};

	ir_key3 {
		rockchip,usercode = <0x1dcc>;
		rockchip,key_table =
			<0xee	KEY_REPLY>,
			<0xf0	KEY_BACK>,
			<0xf8	KEY_UP>,
			<0xbb	KEY_DOWN>,
			<0xef	KEY_LEFT>,
			<0xed	KEY_RIGHT>,
			<0xfc	KEY_HOME>,
			<0xf1	KEY_VOLUMEUP>,
			<0xfd	KEY_VOLUMEDOWN>,
			<0xb7	KEY_SEARCH>,
			<0xff	KEY_POWER>,
			<0xf3	KEY_MUTE>,
			<0xbf	KEY_MENU>,
			<0xf9	0x191>,
			<0xf5	0x192>,
			<0xb3	388>,
			<0xbe	KEY_1>,
			<0xba	KEY_2>,
			<0xb2	KEY_3>,
			<0xbd	KEY_4>,
			<0xf9	KEY_5>,
			<0xb1	KEY_6>,
			<0xfc	KEY_7>,
			<0xf8	KEY_8>,
			<0xb0	KEY_9>,
			<0xb6	KEY_0>,
			<0xb5	KEY_BACKSPACE>;
	};
};

&rk_rga {
	status = "okay";
};

&rkvdec {
	status = "okay";
};

&rkvdec_mmu {
	status = "okay";
};

&rkvenc {
	venc-supply = <&vdd_logic>;
	status = "okay";
};

&rkvenc_mmu {
	status = "okay";
};

/*&rknpu {
	rknpu-supply = <&vdd_npu>;
	status = "okay";
};

&rknpu_mmu {
	status = "okay";
};*/

&route_hdmi {
	status = "disabled";
	connect = <&vp0_out_hdmi>;
};

&saradc {
	status = "okay";
	vref-supply = <&vcca_1v8>;
};

&sdhci {
	bus-width = <8>;
	supports-emmc;
	non-removable;
	max-frequency = <200000000>;
	status = "okay";
};

&sdmmc0 {
	max-frequency = <150000000>;
	supports-sd;
	bus-width = <4>;
	cap-mmc-highspeed;
	cap-sd-highspeed;
	disable-wp;
	sd-uhs-sdr104;
	vmmc-supply = <&vcc3v3_sd>;
	vqmmc-supply = <&vccio_sd>;
	pinctrl-names = "default";
	pinctrl-0 = <&sdmmc0_bus4 &sdmmc0_clk &sdmmc0_cmd &sdmmc0_det>;
	status = "okay";
};

&sfc {
	status = "okay";
};

&spdif_8ch {
	status = "disabled";
};

&tsadc {
	status = "okay";
};

&u2phy0_host {
	//phy-supply = <&vcc5v0_host>;
	status = "okay";
};

&u2phy0_otg {
	vbus-supply = <&vcc5v0_otg>;
	status = "okay";
};

&u2phy1_host {
	//phy-supply = <&vcc5v0_host>;
	status = "okay";
};

&u2phy1_otg {
	//phy-supply = <&vcc5v0_host>;
	status = "okay";
};

&usb2phy0 {
	status = "okay";
};

&usb2phy1 {
	status = "okay";
};

&usb_host0_ehci {
	status = "okay";
};

&usb_host0_ohci {
	status = "okay";
};

&usb_host1_ehci {
	status = "okay";
};

&usb_host1_ohci {
	status = "okay";
};

&usbdrd_dwc3 {
	dr_mode = "otg";
	extcon = <&usb2phy0>;
	status = "okay";
};

&usbdrd30 {
	status = "okay";
};

&usbhost_dwc3 {
	status = "okay";
};

&usbhost30 {
	status = "okay";
};

&vad {
	rockchip,audio-src = <&i2s1_8ch>;
	rockchip,buffer-time-ms = <128>;
	rockchip,det-channel = <0>;
	rockchip,mode = <0>;
};

&vdpu {
	status = "okay";
};

&vdpu_mmu {
	status = "okay";
};

&vepu {
	status = "okay";
};

&vepu_mmu {
	status = "okay";
};

#if 0
/*add by rocky*/
&vp0 {
	rockchip,plane-mask = <(1 << ROCKCHIP_VOP2_CLUSTER1 | 1 << ROCKCHIP_VOP2_SMART1)>;
	rockchip,primary-plane = <ROCKCHIP_VOP2_SMART1>;
};

&vp1 {
	rockchip,plane-mask = <(1 << ROCKCHIP_VOP2_CLUSTER0 | 1 << ROCKCHIP_VOP2_ESMART0 | 1 << ROCKCHIP_VOP2_SMART0)>;
	rockchip,primary-plane = <ROCKCHIP_VOP2_SMART0>;
};

&vp2 {
	rockchip,plane-mask = <(1 << ROCKCHIP_VOP2_ESMART1)>;
	rockchip,primary-plane = <ROCKCHIP_VOP2_ESMART1>;
};
#endif

&vop {
	status = "okay";
	//assigned-clocks = <&cru DCLK_VOP0>, <&cru DCLK_VOP1>;
	//assigned-clock-parents = <&pmucru PLL_HPLL>, <&cru PLL_VPLL>;
	//assigned-clocks = <&cru DCLK_VOP0>, <&cru DCLK_VOP1>, <&cru DCLK_VOP2>;
	//assigned-clock-parents = <&pmucru PLL_HPLL>, <&cru PLL_VPLL>,<&cru PLL_VPLL>;//nix-3lcd-2RGB
    assigned-clocks = <&cru DCLK_VOP0>, <&cru DCLK_VOP1>, <&cru DCLK_VOP2>;
    assigned-clock-parents = <&pmucru PLL_HPLL>, <&cru PLL_VPLL>, <&cru PLL_GPLL>;
};

&vop_mmu {
	status = "okay";
};
